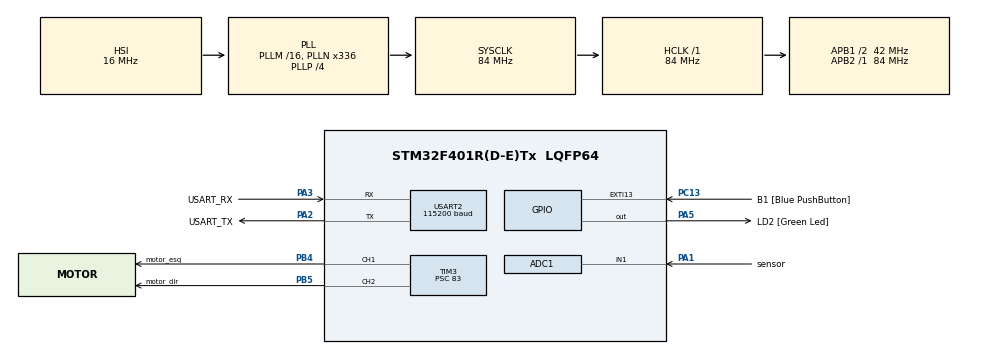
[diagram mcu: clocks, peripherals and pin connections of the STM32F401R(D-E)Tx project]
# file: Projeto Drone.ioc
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ADC1.Channel-1\#ChannelRegularConversion=ADC_CHANNEL_1
ADC1.ContinuousConvMode=ENABLE
ADC1.ExternalTrigConv=ADC_EXTERNALTRIGCONV_T3_TRGO
ADC1.NbrOfConversionFlag=1
ADC1.Rank-1\#ChannelRegularConversion=1
ADC1.SamplingTime-1\#ChannelRegularConversion=ADC_SAMPLETIME_28CYCLES
ADC1.master=1
Mcu.Family=STM32F4
Mcu.Name=STM32F401R(D-E)Tx
Mcu.Package=LQFP64
NVIC.ADC_IRQn=true\:0\:0\:false\:false\:true\:true\:true\:true
NVIC.EXTI15_10_IRQn=true\:0\:0\:false\:false\:true\:true\:true\:true
NVIC.PriorityGroup=NVIC_PRIORITYGROUP_0
NVIC.TIM3_IRQn=true\:0\:0\:false\:false\:true\:true\:true\:true
PA1.GPIO_Label=sensor
PA1.Signal=ADCx_IN1
PA13.GPIO_Label=TMS
PA13.Mode=Serial_Wire
PA13.Signal=SYS_JTMS-SWDIO
PA14.GPIO_Label=TCK
PA14.Mode=Serial_Wire
PA14.Signal=SYS_JTCK-SWCLK
PA2.GPIO_Label=USART_TX
PA2.GPIO_Mode=GPIO_MODE_AF_PP
PA2.GPIO_PuPd=GPIO_NOPULL
PA2.GPIO_Speed=GPIO_SPEED_FREQ_LOW
PA2.Mode=Asynchronous
PA2.Signal=USART2_TX
PA3.GPIO_Label=USART_RX
PA3.GPIO_Mode=GPIO_MODE_AF_PP
PA3.GPIO_PuPd=GPIO_NOPULL
PA3.GPIO_Speed=GPIO_SPEED_FREQ_LOW
PA3.Mode=Asynchronous
PA3.Signal=USART2_RX
PA5.GPIO_Label=LD2 [Green Led]
PA5.GPIO_Mode=GPIO_MODE_OUTPUT_PP
PA5.GPIO_PuPd=GPIO_NOPULL
PA5.GPIO_Speed=GPIO_SPEED_FREQ_LOW
PA5.Signal=GPIO_Output
PB3.GPIO_Label=SWO
PB3.Signal=SYS_JTDO-SWO
PB4.GPIO_Label=motor_esq
PB4.Signal=S_TIM3_CH1
PB5.GPIO_Label=motor_dir
PB5.Signal=S_TIM3_CH2
PC13-ANTI_TAMP.GPIO_Label=B1 [Blue PushButton]
PC13-ANTI_TAMP.GPIO_ModeDefaultEXTI=GPIO_MODE_IT_FALLING
PC13-ANTI_TAMP.GPIO_PuPd=GPIO_NOPULL
PC13-ANTI_TAMP.Signal=GPXTI13
PC14-OSC32_IN.Mode=LSE-External-Oscillator
PC14-OSC32_IN.Signal=RCC_OSC32_IN
PC15-OSC32_OUT.Mode=LSE-External-Oscillator
PC15-OSC32_OUT.Signal=RCC_OSC32_OUT
PH0\ -\ OSC_IN.Mode=HSE-External-Clock-Source
PH0\ -\ OSC_IN.Signal=RCC_OSC_IN
PH1\ -\ OSC_OUT.Mode=HSE-External-Clock-Source
PH1\ -\ OSC_OUT.Signal=RCC_OSC_OUT
ProjectManager.HeapSize=0x200
ProjectManager.StackSize=0x400
ProjectManager.TargetToolchain=STM32CubeIDE
RCC.48MHZClocksFreq_Value=48000000
RCC.AHBFreq_Value=84000000
RCC.APB1CLKDivider=RCC_HCLK_DIV2
RCC.APB1Freq_Value=42000000
RCC.APB1TimFreq_Value=84000000
RCC.APB2Freq_Value=84000000
RCC.APB2TimFreq_Value=84000000
RCC.CortexFreq_Value=84000000
RCC.HCLKFreq_Value=84000000
RCC.HSE_VALUE=8000000
RCC.HSI_VALUE=16000000
RCC.PLLN=336
RCC.PLLP=RCC_PLLP_DIV4
RCC.PLLQ=7
RCC.SYSCLKFreq_VALUE=84000000
RCC.SYSCLKSource=RCC_SYSCLKSOURCE_PLLCLK
RCC.VCOOutputFreq_Value=336000000
SH.ADCx_IN1.0=ADC1_IN1,IN1
SH.S_TIM3_CH1.0=TIM3_CH1,PWM Generation1 CH1
SH.S_TIM3_CH2.0=TIM3_CH2,PWM Generation2 CH2
TIM3.AutoReloadPreload=TIM_AUTORELOAD_PRELOAD_ENABLE
TIM3.Channel-PWM\ Generation1\ CH1=TIM_CHANNEL_1
TIM3.Channel-PWM\ Generation2\ CH2=TIM_CHANNEL_2
TIM3.Period=19999
TIM3.Prescaler=83
TIM3.TIM_MasterOutputTrigger=TIM_TRGO_UPDATE
USART2.BaudRate=115200
USART2.VirtualMode=VM_ASYNC
VP_TIM3_VS_ClockSourceINT.Mode=Internal
board=NUCLEO-F401RE

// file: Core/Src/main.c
/* USER CODE BEGIN Header */
/**
  ******************************************************************************
  * @file           : main.c
  * @brief          : Main program body
  ******************************************************************************
  * @attention
  *
  * Copyright (c) 2023 STMicroelectronics.
  * All rights reserved.
  *
  * This software is licensed under terms that can be found in the LICENSE file
  * in the root directory of this software component.
  * If no LICENSE file comes with this software, it is provided AS-IS.
  *
  ******************************************************************************
  */
/* USER CODE END Header */
#include "main.h"
#include <math.h>
#include <stdio.h>

/* USER CODE BEGIN PTD */
struct r_data{
    float slope_rad_ms;
    float start_pos;
    float set_point;

    uint32_t t0, t1, t2, t3, t4, t5;
};
typedef struct r_data route_data;
/* USER CODE END PTD */

/* USER CODE BEGIN PD */
#define MOTOR_RESET_CONDITION 0
#define MOTOR_IDLE_CONDITION 50
#define MOTOR_MA_CONDITION 150
#define MOTOR_HOVER_CONDITION 500
#define MOTOR_MAX_CONTROL 900

////////////////////////////////////////////////////////////////////////////////////////////   ADDED   ////
#define INTEGRAL_MAXIMUM_VALUE 5
#define MOTOR_MIN_CONTROL 60
#define TS 20E-3
#define MAX_SLOPE_RAD_MS 0.0001
#define START_ROUTE_DELAY_MS 3000
#define M 0.250
#define G 9.8

/* USER CODE END PD */

ADC_HandleTypeDef hadc1;

TIM_HandleTypeDef htim3;

UART_HandleTypeDef huart2;

/* USER CODE BEGIN PV */
uint8_t flag_user = 0;

void HAL_GPIO_EXTI_Callback(uint16_t GPIO_Pin)
{
	if(GPIO_Pin == B1_Pin)
	{
		flag_user = 1;
	}
}

void blink_led(int repetitions)
{
	for(int i=0; i< repetitions; i++)
	{
	  HAL_GPIO_TogglePin(LD2_GPIO_Port, LD2_Pin);
	  HAL_Delay(20);
	}
}
void wait_user()
{
	while(!flag_user)
	{
		HAL_Delay(10);
	}
	flag_user = 0;
}

uint8_t dataready = 0;
uint32_t angle_in_bits = 0;

void HAL_ADC_ConvCpltCallback(ADC_HandleTypeDef* hadc)
{
    // Read & Update The ADC Result
	HAL_GPIO_TogglePin(LD2_GPIO_Port, LD2_Pin);
	angle_in_bits = HAL_ADC_GetValue(hadc);
	dataready=1;
	HAL_ADC_Start_IT(&hadc1);
}

uint32_t clip(int16_t action, int16_t min, int16_t max)
{
	uint32_t normalizedU = 0;

	if (action < min)
	{
		action = min;
	}
	if (action > max)
	{
		action = max;
	}
	normalizedU = (uint32_t)(action);
	return normalizedU;
}

void PWM_setCombinedValue(TIM_HandleTypeDef* htim, int16_t left_actionx10, int16_t right_actionx10)
{
	//PPM protocol,
	// 1 ms => 0%
	// 2 ms => 100%
	// ARR = 20000
	//PSC = 83
	//Clk = 84 Mhz
	uint32_t norm_U_dir = clip(right_actionx10, 0, 1000);
	uint32_t norm_U_esq = clip(left_actionx10, 0, 1000);
	norm_U_dir = 1000+norm_U_dir;
	norm_U_esq = 1000+norm_U_esq;
	htim->Instance->CCR1 = norm_U_esq;
	htim->Instance->CCR2 = norm_U_dir;
}

///////////////////////////////////////////////////////////////////////////////    ADDED FUNCTIONS    ////
float ADC_to_rad(uint32_t ADC_value){
	return 0.0005*ADC_value - 1.1874;
}

float trapezoid_area(float current_value, float anterior_value){
	return TS*((anterior_value+current_value)/2);
}

float f_to_pwm_rigth(float f){
    return -7.5039*pow(f,2) + 51.102*f + 7.8998;
}

float f_to_pwm_left(float f){
    return -6.7909*pow(f,2) + 48.729*f + 7.6053;
}

void set_route_struct(route_data *d, float start_pos, float set_point, uint32_t time_constant_rad_ms){

    float slope_rad_ms;

    if(set_point-start_pos >= 0.){
        slope_rad_ms = MAX_SLOPE_RAD_MS;
    }
    else{
        slope_rad_ms = -MAX_SLOPE_RAD_MS;
    }

    d->slope_rad_ms = slope_rad_ms;
    d->start_pos = start_pos;
    d->set_point = set_point;

    d->t0 = HAL_GetTick();
    d->t1 = (uint32_t) ((set_point-start_pos)/slope_rad_ms);
    d->t2 = d->t1 + time_constant_rad_ms;
    d->t3 = d->t2 + 2*d->t1;
    d->t4 = d->t3 + time_constant_rad_ms;
    d->t5 = d->t4 + d->t1;
    return;
}

float route_planner(route_data *d){
    uint32_t t = HAL_GetTick() - d->t0;
    float relative_set_point = 0;

    if(t >= 0 && t < d->t1){
        relative_set_point = d->start_pos + d->slope_rad_ms*t;
    }
    else if(t >= d->t1 && t <d->t2){
        relative_set_point = d->set_point;
    }
    else if(t >= d->t2 && t < d->t3){
        relative_set_point = d->set_point - d->slope_rad_ms*(t - d->t2);
    }
    else if (t >= d->t3 && t < d->t4){
        relative_set_point = 2*d->start_pos - d->set_point;
    }
    else if (t >= d->t4 && t < d->t5){
        relative_set_point = 2*d->start_pos - d->set_point + d->slope_rad_ms*(t - d->t4);
    }
    else{
        relative_set_point = d->start_pos;
    }

    return relative_set_point;
}

/////////////////////////////////////////////////////////////////////////   END OF ADDED FUNCTIONS    ////

/* USER CODE END PV */

void SystemClock_Config(void);
static void MX_GPIO_Init(void);
static void MX_USART2_UART_Init(void);
static void MX_ADC1_Init(void);
static void MX_TIM3_Init(void);

int main(void)
{

  /* MCU Configuration--------------------------------------------------------*/

  /* Reset of all peripherals, Initializes the Flash interface and the Systick. */
  HAL_Init();

  /* Configure the system clock */
  SystemClock_Config();

  /* Initialize all configured peripherals */
  MX_GPIO_Init();
  MX_USART2_UART_Init();
  MX_ADC1_Init();
  MX_TIM3_Init();
  /* USER CODE BEGIN 2 */
  blink_led(50);
  wait_user();
  HAL_UART_Transmit(&huart2, "Programa com controle!\r\n", 24, 10000);
  HAL_TIM_PWM_Init(&htim3);
  HAL_TIM_PWM_Start(&htim3, TIM_CHANNEL_1);
  HAL_TIM_PWM_Start(&htim3, TIM_CHANNEL_2);
  HAL_Delay(2000);
  //Motor1 é esquerdo
  PWM_setCombinedValue(&htim3,0,0);
  HAL_Delay(5000);
  /* USER CODE END 2 */

  /* Infinite loop */
  /* USER CODE BEGIN WHILE */

  HAL_Delay(100);
  HAL_ADC_Start_IT(&hadc1);
  /* DEFINA AQUI AS PARTES DO CONTROLADOR - COMEÇO 1*/

  float angle_rad = 0;
  float angle_rad_setpoint = 0;
  float angle_rad_error = 0;
  float anterior_angle_rad_error = 0;
  uint8_t pData[16];

  float Kp = 0.112731*7;
  float Ti = 16.862/2;
  float Td = 2.16241/30;

  float integral = 0;		// Do I need to limit the integral sum? by how much? (CAPPED)
  float derivate = 0;
  float u = 0;

  float pwm_l = 0;
  float pwm_r = 0;

  route_data route_d;
  float true_set_point = 0.5;

  int first_execution = 1;
  uint32_t loop_counter = 0;

  /* DEFINA AQUI AS PARTES DO CONTROLADOR - FIM 1 */
  while (1)
  {
    /* USER CODE END WHILE */

    /* USER CODE BEGIN 3 */
	if(dataready)
	{
		dataready=0;
		angle_rad = ADC_to_rad(angle_in_bits);

		/* DEFINA AQUI AS PARTES DO CONTROLADOR - COMEÇO 2*/
		angle_rad_error = angle_rad_setpoint - angle_rad;

		integral += trapezoid_area(angle_rad_error, anterior_angle_rad_error);	// Updates integral value
		derivate = (angle_rad_error - anterior_angle_rad_error)/TS;

		u = Kp * (angle_rad_error + 1/Ti * integral + Td * derivate);				// saida do controlador em NEWTON

		pwm_r = f_to_pwm_rigth(M*G/(4*cosf(angle_rad)) + u/2);
		pwm_l = f_to_pwm_left(M*G/(4*cosf(angle_rad)) - u/2);

		PWM_setCombinedValue(&htim3, clip((int16_t) (10*pwm_l), 50, 950)
				, clip((int16_t) (10*pwm_r), 50, 950));

////////////////////////////////////////////////////////////////////////////    DEBBUGING	////
//		sprintf(pData, "SP = %.4f \n\r", angle_rad_setpoint);
//		HAL_UART_Transmit(&huart2, pData, 16, 50);
//
//		sprintf(pData, "E[%%] = %.4f \n\r", pwm_l);
//		HAL_UART_Transmit(&huart2, pData, 16, 50);
//
//		sprintf(pData, "D[%%] = %.4f \n\r\n\r", pwm_r);
//		HAL_UART_Transmit(&huart2, pData, 16, 50);

		sprintf(pData, "%1.4f \n\r", angle_rad);
		HAL_UART_Transmit(&huart2, pData, 16, 50);

/////////////////////////////////////////////////////////////////////    END OF DEBUGING    ////

		anterior_angle_rad_error = angle_rad_error;

		loop_counter += 1;

		if(loop_counter*20 > START_ROUTE_DELAY_MS){
			if(first_execution){
				set_route_struct(&route_d, angle_rad, true_set_point, 2000);
				first_execution = 0;
			}
			angle_rad_setpoint = route_planner(&route_d);	// Relative set point
		}

		/* DEFINA AQUI AS PARTES DO CONTROLADOR - FIM 2 */
	}

  }
  /* USER CODE END 3 */
}

void SystemClock_Config(void)
{
  RCC_OscInitTypeDef RCC_OscInitStruct = {0};
  RCC_ClkInitTypeDef RCC_ClkInitStruct = {0};

  /** Configure the main internal regulator output voltage
  */
  __HAL_RCC_PWR_CLK_ENABLE();
  __HAL_PWR_VOLTAGESCALING_CONFIG(PWR_REGULATOR_VOLTAGE_SCALE2);

  /** Initializes the RCC Oscillators according to the specified parameters
  * in the RCC_OscInitTypeDef structure.
  */
  RCC_OscInitStruct.OscillatorType = RCC_OSCILLATORTYPE_HSI;
  RCC_OscInitStruct.HSIState = RCC_HSI_ON;
  RCC_OscInitStruct.HSICalibrationValue = RCC_HSICALIBRATION_DEFAULT;
  RCC_OscInitStruct.PLL.PLLState = RCC_PLL_ON;
  RCC_OscInitStruct.PLL.PLLSource = RCC_PLLSOURCE_HSI;
  RCC_OscInitStruct.PLL.PLLM = 16;
  RCC_OscInitStruct.PLL.PLLN = 336;
  RCC_OscInitStruct.PLL.PLLP = RCC_PLLP_DIV4;
  RCC_OscInitStruct.PLL.PLLQ = 7;
  if (HAL_RCC_OscConfig(&RCC_OscInitStruct) != HAL_OK)
  {
    Error_Handler();
  }

  /** Initializes the CPU, AHB and APB buses clocks
  */
  RCC_ClkInitStruct.ClockType = RCC_CLOCKTYPE_HCLK|RCC_CLOCKTYPE_SYSCLK
                              |RCC_CLOCKTYPE_PCLK1|RCC_CLOCKTYPE_PCLK2;
  RCC_ClkInitStruct.SYSCLKSource = RCC_SYSCLKSOURCE_PLLCLK;
  RCC_ClkInitStruct.AHBCLKDivider = RCC_SYSCLK_DIV1;
  RCC_ClkInitStruct.APB1CLKDivider = RCC_HCLK_DIV2;
  RCC_ClkInitStruct.APB2CLKDivider = RCC_HCLK_DIV1;

  if (HAL_RCC_ClockConfig(&RCC_ClkInitStruct, FLASH_LATENCY_2) != HAL_OK)
  {
    Error_Handler();
  }
}

static void MX_ADC1_Init(void)
{

  ADC_ChannelConfTypeDef sConfig = {0};

  /** Configure the global features of the ADC (Clock, Resolution, Data Alignment and number of conversion)
  */
  hadc1.Instance = ADC1;
  hadc1.Init.ClockPrescaler = ADC_CLOCK_SYNC_PCLK_DIV4;
  hadc1.Init.Resolution = ADC_RESOLUTION_12B;
  hadc1.Init.ScanConvMode = DISABLE;
  hadc1.Init.ContinuousConvMode = ENABLE;
  hadc1.Init.DiscontinuousConvMode = DISABLE;
  hadc1.Init.ExternalTrigConvEdge = ADC_EXTERNALTRIGCONVEDGE_RISING;
  hadc1.Init.ExternalTrigConv = ADC_EXTERNALTRIGCONV_T3_TRGO;
  hadc1.Init.DataAlign = ADC_DATAALIGN_RIGHT;
  hadc1.Init.NbrOfConversion = 1;
  hadc1.Init.DMAContinuousRequests = DISABLE;
  hadc1.Init.EOCSelection = ADC_EOC_SINGLE_CONV;
  if (HAL_ADC_Init(&hadc1) != HAL_OK)
  {
    Error_Handler();
  }

  /** Configure for the selected ADC regular channel its corresponding rank in the sequencer and its sample time.
  */
  sConfig.Channel = ADC_CHANNEL_1;
  sConfig.Rank = 1;
  sConfig.SamplingTime = ADC_SAMPLETIME_28CYCLES;
  if (HAL_ADC_ConfigChannel(&hadc1, &sConfig) != HAL_OK)
  {
    Error_Handler();
  }

}

static void MX_TIM3_Init(void)
{

  TIM_ClockConfigTypeDef sClockSourceConfig = {0};
  TIM_MasterConfigTypeDef sMasterConfig = {0};
  TIM_OC_InitTypeDef sConfigOC = {0};

  htim3.Instance = TIM3;
  htim3.Init.Prescaler = 83;
  htim3.Init.CounterMode = TIM_COUNTERMODE_UP;
  htim3.Init.Period = 19999;
  htim3.Init.ClockDivision = TIM_CLOCKDIVISION_DIV1;
  htim3.Init.AutoReloadPreload = TIM_AUTORELOAD_PRELOAD_ENABLE;
  if (HAL_TIM_Base_Init(&htim3) != HAL_OK)
  {
    Error_Handler();
  }
  sClockSourceConfig.ClockSource = TIM_CLOCKSOURCE_INTERNAL;
  if (HAL_TIM_ConfigClockSource(&htim3, &sClockSourceConfig) != HAL_OK)
  {
    Error_Handler();
  }
  if (HAL_TIM_PWM_Init(&htim3) != HAL_OK)
  {
    Error_Handler();
  }
  sMasterConfig.MasterOutputTrigger = TIM_TRGO_UPDATE;
  sMasterConfig.MasterSlaveMode = TIM_MASTERSLAVEMODE_DISABLE;
  if (HAL_TIMEx_MasterConfigSynchronization(&htim3, &sMasterConfig) != HAL_OK)
  {
    Error_Handler();
  }
  sConfigOC.OCMode = TIM_OCMODE_PWM1;
  sConfigOC.Pulse = 0;
  sConfigOC.OCPolarity = TIM_OCPOLARITY_HIGH;
  sConfigOC.OCFastMode = TIM_OCFAST_DISABLE;
  if (HAL_TIM_PWM_ConfigChannel(&htim3, &sConfigOC, TIM_CHANNEL_1) != HAL_OK)
  {
    Error_Handler();
  }
  if (HAL_TIM_PWM_ConfigChannel(&htim3, &sConfigOC, TIM_CHANNEL_2) != HAL_OK)
  {
    Error_Handler();
  }
  HAL_TIM_MspPostInit(&htim3);

}

static void MX_USART2_UART_Init(void)
{

  huart2.Instance = USART2;
  huart2.Init.BaudRate = 115200;
  huart2.Init.WordLength = UART_WORDLENGTH_8B;
  huart2.Init.StopBits = UART_STOPBITS_1;
  huart2.Init.Parity = UART_PARITY_NONE;
  huart2.Init.Mode = UART_MODE_TX_RX;
  huart2.Init.HwFlowCtl = UART_HWCONTROL_NONE;
  huart2.Init.OverSampling = UART_OVERSAMPLING_16;
  if (HAL_UART_Init(&huart2) != HAL_OK)
  {
    Error_Handler();
  }

}

static void MX_GPIO_Init(void)
{
  GPIO_InitTypeDef GPIO_InitStruct = {0};

  /* GPIO Ports Clock Enable */
  __HAL_RCC_GPIOC_CLK_ENABLE();
  __HAL_RCC_GPIOH_CLK_ENABLE();
  __HAL_RCC_GPIOA_CLK_ENABLE();
  __HAL_RCC_GPIOB_CLK_ENABLE();

  /*Configure GPIO pin Output Level */
  HAL_GPIO_WritePin(LD2_GPIO_Port, LD2_Pin, GPIO_PIN_RESET);

  /*Configure GPIO pin : B1_Pin */
  GPIO_InitStruct.Pin = B1_Pin;
  GPIO_InitStruct.Mode = GPIO_MODE_IT_FALLING;
  GPIO_InitStruct.Pull = GPIO_NOPULL;
  HAL_GPIO_Init(B1_GPIO_Port, &GPIO_InitStruct);

  /*Configure GPIO pin : LD2_Pin */
  GPIO_InitStruct.Pin = LD2_Pin;
  GPIO_InitStruct.Mode = GPIO_MODE_OUTPUT_PP;
  GPIO_InitStruct.Pull = GPIO_NOPULL;
  GPIO_InitStruct.Speed = GPIO_SPEED_FREQ_LOW;
  HAL_GPIO_Init(LD2_GPIO_Port, &GPIO_InitStruct);

  /* EXTI interrupt init*/
  HAL_NVIC_SetPriority(EXTI15_10_IRQn, 0, 0);
  HAL_NVIC_EnableIRQ(EXTI15_10_IRQn);

}

void Error_Handler(void)
{
  __disable_irq();
  while (1)
  {
  }
}
